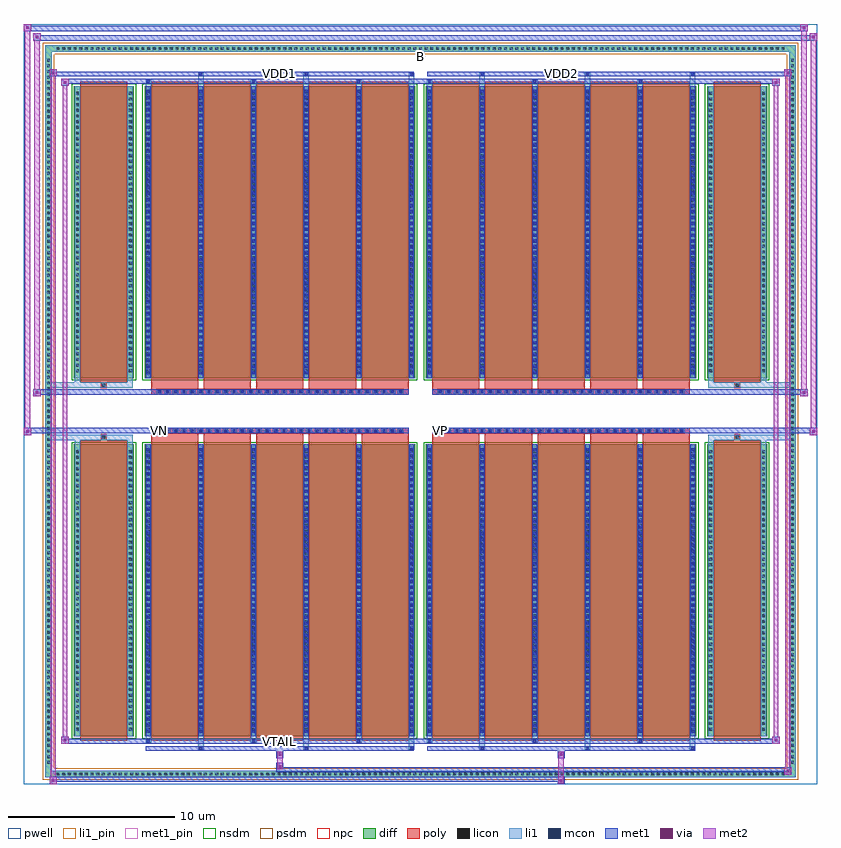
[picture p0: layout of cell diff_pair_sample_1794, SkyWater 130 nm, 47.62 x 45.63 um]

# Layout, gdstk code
import gdstk
lib = gdstk.Library(unit=1e-6, precision=5e-09)
def R(c, l, rs):  # rectangles x0, y0, x1, y1
    for r in rs: c.add(gdstk.rectangle(r[:2], r[2:], *l))
def A(c, l, x, y, w, h, nx, ny, dx, dy):  # array of equal rectangles
    R(c, l, [(x+i*dx, y+j*dy, x+i*dx+w, y+j*dy+h) for i in range(nx) for j in range(ny)])
def P(c, l, *ps):  # polygons
    for p in ps: c.add(gdstk.Polygon(p, *l))
pwell = (64, 44)
diff = (65, 20)
poly = (66, 20)
licon = (66, 44)
li1_pin = (67, 16)
li1 = (67, 20)
mcon = (67, 44)
met1_pin = (68, 16)
met1 = (68, 20)
via = (68, 44)
met2 = (69, 20)
nsdm = (93, 44)
psdm = (94, 20)
npc = (95, 20)

diff_pair_sample_1794 = lib.new_cell('diff_pair_sample_1794')
R(diff_pair_sample_1794, pwell, [(-23.81,-22.38,23.81,23.25), (-21.13,-20.57,-0.01,-0.805), (0.01,-20.57,21.13,-0.805), (-21.13,0.805,-0.01,20.57), (0.01,0.805,21.13,20.57)])
A(diff_pair_sample_1794, diff, -21.965, -21.98, 0.41, 0.41, 129, 2, 0.34, 43.55)
A(diff_pair_sample_1794, diff, -22.54, -21.285, 0.41, 0.41, 1, 125, 0, 0.34)
A(diff_pair_sample_1794, diff, 22.13, -21.285, 0.41, 0.41, 1, 125, 0, 0.34)
R(diff_pair_sample_1794, diff, [(-21.965,-21.98,21.965,-21.57), (-22.54,-21.285,-22.13,21.285), (22.13,-21.285,22.54,21.285), (-20.82,-19.525,-17.21,-1.985), (-16.57,-19.525,-0.32,-1.985), (0.32,-19.525,16.57,-1.985), (17.21,-19.525,20.82,-1.985), (-20.82,1.985,-17.21,19.525), (-16.57,1.985,-0.32,19.525), (0.32,1.985,16.57,19.525), (17.21,1.985,20.82,19.525), (-21.965,21.57,21.965,21.98)])
P(diff_pair_sample_1794, diff, [(22.54,21.98),(-22.54,21.98),(-22.54,-21.57),(-22.13,-21.57),(-22.13,21.57),(22.13,21.57),(22.13,-21.57),(-22.13,-21.57),(-22.54,-21.57),(-22.54,-21.98),(22.54,-21.98)])
A(diff_pair_sample_1794, poly, -16.18, -19.775, 2.83, 18.04, 5, 2, 3.16, 21.51)
A(diff_pair_sample_1794, poly, 0.71, -19.775, 2.83, 18.04, 5, 2, 3.16, 21.51)
A(diff_pair_sample_1794, poly, -16.18, -1.735, 2.83, 0.4, 5, 2, 3.16, 3.07)
A(diff_pair_sample_1794, poly, 0.71, -1.735, 2.83, 0.4, 5, 2, 3.16, 3.07)
A(diff_pair_sample_1794, poly, -15.86, -1.335, 0.33, 0.33, 30, 2, 0.5, 2.34)
A(diff_pair_sample_1794, poly, 1.03, -1.335, 0.33, 0.33, 30, 2, 0.5, 2.34)
R(diff_pair_sample_1794, poly, [(-20.43,-19.775,-17.6,-1.735), (17.6,-19.775,20.43,-1.735), (-19.18,-1.735,-18.85,-1.405), (-19.18,-1.735,-18.85,-1.405), (18.85,-1.735,19.18,-1.405), (18.85,-1.735,19.18,-1.405), (-16.18,-1.335,-0.71,-1.005), (0.71,-1.335,16.18,-1.005), (-16.18,1.005,-0.71,1.335), (0.71,1.005,16.18,1.335), (-19.18,1.405,-18.85,1.735), (-19.18,1.405,-18.85,1.735), (18.85,1.405,19.18,1.735), (18.85,1.405,19.18,1.735), (-20.43,1.735,-17.6,19.775), (17.6,1.735,20.43,19.775)])
A(diff_pair_sample_1794, licon, -21.845, -21.86, 0.17, 0.17, 129, 2, 0.34, 43.55)
A(diff_pair_sample_1794, licon, -22.42, -21.165, 0.17, 0.17, 1, 125, 0, 0.34)
A(diff_pair_sample_1794, licon, 22.25, -21.165, 0.17, 0.17, 1, 125, 0, 0.34)
A(diff_pair_sample_1794, licon, -20.68, -19.17, 0.17, 0.17, 1, 50, 0, 0.34)
A(diff_pair_sample_1794, licon, -17.52, -19.17, 0.17, 0.17, 1, 50, 0, 0.34)
A(diff_pair_sample_1794, licon, -16.43, -19.17, 0.17, 0.17, 6, 50, 3.16, 0.34)
A(diff_pair_sample_1794, licon, 0.46, -19.17, 0.17, 0.17, 6, 50, 3.16, 0.34)
A(diff_pair_sample_1794, licon, 17.35, -19.17, 0.17, 0.17, 1, 50, 0, 0.34)
A(diff_pair_sample_1794, licon, 20.51, -19.17, 0.17, 0.17, 1, 50, 0, 0.34)
A(diff_pair_sample_1794, licon, -15.78, -1.255, 0.17, 0.17, 30, 2, 0.5, 2.34)
A(diff_pair_sample_1794, licon, 1.11, -1.255, 0.17, 0.17, 30, 2, 0.5, 2.34)
A(diff_pair_sample_1794, licon, -20.68, 2.34, 0.17, 0.17, 1, 50, 0, 0.34)
A(diff_pair_sample_1794, licon, -17.52, 2.34, 0.17, 0.17, 1, 50, 0, 0.34)
A(diff_pair_sample_1794, licon, -16.43, 2.34, 0.17, 0.17, 6, 50, 3.16, 0.34)
A(diff_pair_sample_1794, licon, 0.46, 2.34, 0.17, 0.17, 6, 50, 3.16, 0.34)
A(diff_pair_sample_1794, licon, 17.35, 2.34, 0.17, 0.17, 1, 50, 0, 0.34)
A(diff_pair_sample_1794, licon, 20.51, 2.34, 0.17, 0.17, 1, 50, 0, 0.34)
R(diff_pair_sample_1794, licon, [(-19.1,-1.655,-18.93,-1.485), (18.93,-1.655,19.1,-1.485), (-19.1,1.485,-18.93,1.655), (18.93,1.485,19.1,1.655)])
R(diff_pair_sample_1794, li1_pin, [(-0.25,21.07,0.25,21.57)])
A(diff_pair_sample_1794, li1, -21.925, -21.94, 0.33, 0.33, 129, 2, 0.34, 43.55)
A(diff_pair_sample_1794, li1, -22.5, -21.245, 0.33, 0.33, 1, 125, 0, 0.34)
A(diff_pair_sample_1794, li1, 22.17, -21.245, 0.33, 0.33, 1, 125, 0, 0.34)
A(diff_pair_sample_1794, li1, -13.35, -20.33, 0.33, 0.805, 3, 2, 6.32, 39.855)
A(diff_pair_sample_1794, li1, -13.27, -20.33, 0.17, 0.17, 3, 2, 6.32, 40.49)
A(diff_pair_sample_1794, li1, 3.54, -20.33, 0.33, 0.805, 3, 2, 6.32, 39.855)
A(diff_pair_sample_1794, li1, 3.62, -20.33, 0.17, 0.17, 3, 2, 6.32, 40.49)
A(diff_pair_sample_1794, li1, -16.51, -19.9, 0.33, 0.375, 3, 2, 6.32, 39.425)
A(diff_pair_sample_1794, li1, -16.43, -19.9, 0.17, 0.17, 3, 2, 6.32, 39.63)
A(diff_pair_sample_1794, li1, 0.38, -19.9, 0.33, 0.375, 3, 2, 6.32, 39.425)
A(diff_pair_sample_1794, li1, 0.46, -19.9, 0.17, 0.17, 3, 2, 6.32, 39.63)
A(diff_pair_sample_1794, li1, -16.51, -19.525, 0.33, 17.54, 6, 2, 3.16, 21.51)
A(diff_pair_sample_1794, li1, 0.38, -19.525, 0.33, 17.54, 6, 2, 3.16, 21.51)
A(diff_pair_sample_1794, li1, -16.43, -19.3, 0.17, 0.17, 6, 48, 3.16, 0.36)
A(diff_pair_sample_1794, li1, -16.43, -19.3, 0.17, 17.09, 6, 2, 3.16, 21.51)
A(diff_pair_sample_1794, li1, 0.46, -19.3, 0.17, 0.17, 6, 48, 3.16, 0.36)
A(diff_pair_sample_1794, li1, 0.46, -19.3, 0.17, 17.09, 6, 2, 3.16, 21.51)
A(diff_pair_sample_1794, li1, -20.76, -19.25, 0.33, 0.33, 1, 50, 0, 0.34)
A(diff_pair_sample_1794, li1, -17.6, -19.25, 0.33, 0.33, 1, 50, 0, 0.34)
A(diff_pair_sample_1794, li1, -16.51, -19.25, 0.33, 0.33, 6, 50, 3.16, 0.34)
A(diff_pair_sample_1794, li1, 0.38, -19.25, 0.33, 0.33, 6, 50, 3.16, 0.34)
A(diff_pair_sample_1794, li1, 17.27, -19.25, 0.33, 0.33, 1, 50, 0, 0.34)
A(diff_pair_sample_1794, li1, 20.43, -19.25, 0.33, 0.33, 1, 50, 0, 0.34)
A(diff_pair_sample_1794, li1, -15.86, -1.335, 0.33, 0.33, 30, 2, 0.5, 2.34)
A(diff_pair_sample_1794, li1, 1.03, -1.335, 0.33, 0.33, 30, 2, 0.5, 2.34)
A(diff_pair_sample_1794, li1, -16.43, 2.21, 0.17, 0.17, 6, 48, 3.16, 0.36)
A(diff_pair_sample_1794, li1, 0.46, 2.21, 0.17, 0.17, 6, 48, 3.16, 0.36)
A(diff_pair_sample_1794, li1, -20.76, 2.26, 0.33, 0.33, 1, 50, 0, 0.34)
A(diff_pair_sample_1794, li1, -17.6, 2.26, 0.33, 0.33, 1, 50, 0, 0.34)
A(diff_pair_sample_1794, li1, -16.51, 2.26, 0.33, 0.33, 6, 50, 3.16, 0.34)
A(diff_pair_sample_1794, li1, 0.38, 2.26, 0.33, 0.33, 6, 50, 3.16, 0.34)
A(diff_pair_sample_1794, li1, 17.27, 2.26, 0.33, 0.33, 1, 50, 0, 0.34)
A(diff_pair_sample_1794, li1, 20.43, 2.26, 0.33, 0.33, 1, 50, 0, 0.34)
R(diff_pair_sample_1794, li1, [(-22.54,-21.98,-22.13,-21.57), (-22.54,-21.98,-22.13,-21.57), (-22.13,-21.98,22.13,-21.57), (22.13,-21.98,22.54,-21.57), (22.13,-21.98,22.54,-21.57), (-22.54,-21.57,-22.13,21.57), (22.13,-21.57,22.54,21.57), (-20.76,-19.525,-20.43,-1.985), (-17.6,-19.525,-17.27,-1.985), (17.27,-19.525,17.6,-1.985), (20.43,-19.525,20.76,-1.985), (-20.76,-1.985,-20.43,-1.405), (-17.6,-1.985,-17.27,-1.405), (17.27,-1.985,17.6,-1.405), (20.43,-1.985,20.76,-1.405), (-22.54,-1.735,-19.18,-1.405), (-20.76,-1.735,-19.18,-1.405), (-19.18,-1.735,-18.85,-1.405), (-18.85,-1.735,-17.27,-1.405), (17.27,-1.735,18.85,-1.405), (18.85,-1.735,19.18,-1.405), (18.85,-1.735,22.54,-1.405), (19.18,-1.735,20.76,-1.405), (-22.54,1.405,-19.18,1.735), (-20.76,1.405,-19.18,1.735), (-20.76,1.405,-20.43,1.985), (-19.18,1.405,-18.85,1.735), (-18.85,1.405,-17.27,1.735), (-17.6,1.405,-17.27,1.985), (17.27,1.405,18.85,1.735), (17.27,1.405,17.6,1.985), (18.85,1.405,19.18,1.735), (18.85,1.405,22.54,1.735), (19.18,1.405,20.76,1.735), (20.43,1.405,20.76,1.985), (-20.76,1.985,-20.43,19.525), (-17.6,1.985,-17.27,19.525), (17.27,1.985,17.6,19.525), (20.43,1.985,20.76,19.525), (-22.54,21.57,-22.13,21.98), (-22.54,21.57,-22.13,21.98), (-22.13,21.57,22.13,21.98), (22.13,21.57,22.54,21.98), (22.13,21.57,22.54,21.98)])
A(diff_pair_sample_1794, mcon, -13.27, -20.33, 0.17, 0.17, 3, 2, 6.32, 40.49)
A(diff_pair_sample_1794, mcon, 3.62, -20.33, 0.17, 0.17, 3, 2, 6.32, 40.49)
A(diff_pair_sample_1794, mcon, -16.43, -19.9, 0.17, 0.17, 3, 2, 6.32, 39.63)
A(diff_pair_sample_1794, mcon, 0.46, -19.9, 0.17, 0.17, 3, 2, 6.32, 39.63)
A(diff_pair_sample_1794, mcon, -16.43, -19.3, 0.17, 0.17, 6, 48, 3.16, 0.36)
A(diff_pair_sample_1794, mcon, 0.46, -19.3, 0.17, 0.17, 6, 48, 3.16, 0.36)
A(diff_pair_sample_1794, mcon, -15.78, -1.255, 0.17, 0.17, 30, 2, 0.5, 2.34)
A(diff_pair_sample_1794, mcon, 1.11, -1.255, 0.17, 0.17, 30, 2, 0.5, 2.34)
A(diff_pair_sample_1794, mcon, -16.43, 2.21, 0.17, 0.17, 6, 48, 3.16, 0.36)
A(diff_pair_sample_1794, mcon, 0.46, 2.21, 0.17, 0.17, 6, 48, 3.16, 0.36)
R(diff_pair_sample_1794, met1_pin, [(-8.58,-19.94,-8.31,-19.67), (-15.83,-1.295,-15.56,-1.025), (1.06,-1.295,1.33,-1.025), (-8.58,20.12,-8.31,20.39), (8.31,20.12,8.58,20.39)])
A(diff_pair_sample_1794, met1, -13.33, -20.39, 0.29, 0.29, 3, 2, 6.32, 40.49)
A(diff_pair_sample_1794, met1, 3.56, -20.39, 0.29, 0.29, 3, 2, 6.32, 40.49)
A(diff_pair_sample_1794, met1, -16.49, -19.96, 0.29, 0.29, 3, 2, 6.32, 39.63)
A(diff_pair_sample_1794, met1, 0.4, -19.96, 0.29, 0.29, 3, 2, 6.32, 39.63)
A(diff_pair_sample_1794, met1, -16.49, -19.525, 0.29, 17.54, 6, 2, 3.16, 21.51)
A(diff_pair_sample_1794, met1, 0.4, -19.525, 0.29, 17.54, 6, 2, 3.16, 21.51)
A(diff_pair_sample_1794, met1, -16.49, -19.36, 0.29, 0.29, 6, 48, 3.16, 0.36)
A(diff_pair_sample_1794, met1, 0.4, -19.36, 0.29, 0.29, 6, 48, 3.16, 0.36)
A(diff_pair_sample_1794, met1, -15.84, -1.315, 0.29, 0.29, 30, 2, 0.5, 2.34)
A(diff_pair_sample_1794, met1, 1.05, -1.315, 0.29, 0.29, 30, 2, 0.5, 2.34)
A(diff_pair_sample_1794, met1, -16.49, 2.15, 0.29, 0.29, 6, 48, 3.16, 0.36)
A(diff_pair_sample_1794, met1, 0.4, 2.15, 0.29, 0.29, 6, 48, 3.16, 0.36)
R(diff_pair_sample_1794, met1, [(-22.27,-22.38,-21.84,-21.95), (8.23,-22.38,8.66,-21.95), (-22.27,-22.24,8.66,-21.95), (21.84,-21.81,22.27,-21.38), (-8.66,-21.67,22.27,-21.38), (-8.66,-21.53,-8.23,-21.1), (-8.66,-20.82,-8.23,-20.39), (8.23,-20.82,8.66,-20.39), (-16.49,-20.39,-0.4,-20.1), (0.4,-20.39,16.49,-20.1), (-21.56,-19.96,-21.13,-19.53), (-21.56,-19.96,-16.49,-19.67), (-16.49,-19.96,-0.4,-19.67), (-0.4,-19.96,0.4,-19.67), (0.4,-19.96,16.49,-19.67), (16.49,-19.96,21.56,-19.67), (21.13,-19.96,21.56,-19.53), (-23.81,-1.435,-23.38,-1.005), (23.38,-1.435,23.81,-1.005), (-23.81,-1.335,-0.71,-1.005), (-16.18,-1.335,-0.71,-1.005), (0.71,-1.335,16.18,-1.005), (0.71,-1.335,23.81,-1.005), (-23.24,0.905,-22.81,1.335), (22.81,0.905,23.24,1.335), (-23.24,1.005,-16.18,1.335), (-16.18,1.005,-0.71,1.335), (0.71,1.005,16.18,1.335), (16.18,1.005,23.24,1.335), (-21.56,19.53,-21.13,19.96), (21.13,19.53,21.56,19.96), (-21.56,19.67,-16.49,19.96), (-16.49,19.67,-0.4,19.96), (-0.4,19.67,0.4,19.96), (0.4,19.67,16.49,19.96), (16.49,19.67,21.56,19.96), (-22.27,20.1,-21.84,20.53), (-22.27,20.1,-16.49,20.39), (-16.49,20.1,-0.4,20.39), (0.4,20.1,16.49,20.39), (16.49,20.1,22.27,20.39), (21.84,20.1,22.27,20.53), (-23.24,22.25,-22.81,22.68), (-23.24,22.25,-21.13,22.58), (-21.13,22.25,21.13,22.58), (21.13,22.25,23.81,22.58), (23.38,22.25,23.81,22.68), (-23.81,22.82,-23.38,23.25), (-23.81,22.82,-21.13,23.15), (-21.13,22.82,21.13,23.15), (21.13,22.82,23.24,23.15), (22.81,22.82,23.24,23.25)])
R(diff_pair_sample_1794, via, [(-22.13,-22.24,-21.98,-22.09), (8.37,-22.24,8.52,-22.09), (21.98,-21.67,22.13,-21.52), (-8.52,-21.39,-8.37,-21.24), (-8.52,-20.68,-8.37,-20.53), (8.37,-20.68,8.52,-20.53), (-21.42,-19.82,-21.27,-19.67), (21.27,-19.82,21.42,-19.67), (-23.67,-1.295,-23.52,-1.145), (23.52,-1.295,23.67,-1.145), (-23.1,1.045,-22.95,1.195), (22.95,1.045,23.1,1.195), (-21.42,19.67,-21.27,19.82), (21.27,19.67,21.42,19.82), (-22.13,20.24,-21.98,20.39), (21.98,20.24,22.13,20.39), (-23.1,22.39,-22.95,22.54), (23.52,22.39,23.67,22.54), (-23.67,22.96,-23.52,23.11), (22.95,22.96,23.1,23.11)])
R(diff_pair_sample_1794, met2, [(-22.27,-22.38,-21.84,-21.95), (-22.2,-22.38,-21.91,20.53), (-21.91,-22.38,-21.84,-21.95), (-22.22,-22.33,-21.89,-22), (8.28,-22.33,8.61,-22), (8.28,-22,8.61,-20.77), (21.84,-21.81,22.27,-21.38), (21.91,-21.81,22.2,20.53), (22.2,-21.81,22.27,-21.38), (21.89,-21.76,22.22,-21.43), (-8.61,-21.48,-8.28,-21.15), (-8.61,-21.15,-8.28,-20.77), (-8.61,-20.77,-8.28,-20.44), (8.28,-20.77,8.61,-20.44), (-21.56,-19.96,-21.13,-19.53), (-21.49,-19.96,-21.2,19.96), (-21.2,-19.96,-21.13,-19.53), (21.13,-19.96,21.56,-19.53), (21.2,-19.96,21.49,19.96), (21.49,-19.96,21.56,-19.53), (-21.51,-19.91,-21.18,-19.58), (21.18,-19.91,21.51,-19.58), (-23.81,-1.435,-23.38,-1.005), (-23.76,-1.435,-23.43,23.25), (-23.43,-1.435,-23.38,-1.005), (23.38,-1.435,23.81,-1.005), (23.43,-1.435,23.76,22.68), (23.76,-1.435,23.81,-1.005), (-23.76,-1.385,-23.43,-1.055), (23.43,-1.385,23.76,-1.055), (-23.24,0.905,-22.81,1.335), (-23.19,0.905,-22.86,22.68), (-22.86,0.905,-22.81,1.335), (22.81,0.905,23.24,1.335), (22.86,0.905,23.19,23.25), (23.19,0.905,23.24,1.335), (-23.19,0.955,-22.86,1.285), (22.86,0.955,23.19,1.285), (-21.56,19.53,-21.13,19.96), (-21.2,19.53,-21.13,19.96), (21.13,19.53,21.56,19.96), (21.49,19.53,21.56,19.96), (-21.51,19.58,-21.18,19.91), (21.18,19.58,21.51,19.91), (-22.27,20.1,-21.84,20.53), (-21.91,20.1,-21.84,20.53), (21.84,20.1,22.27,20.53), (22.2,20.1,22.27,20.53), (-22.22,20.15,-21.89,20.48), (21.89,20.15,22.22,20.48), (-23.24,22.25,-22.81,22.68), (-22.86,22.25,-22.81,22.68), (23.38,22.25,23.81,22.68), (23.76,22.25,23.81,22.68), (-23.19,22.3,-22.86,22.63), (23.43,22.3,23.76,22.63), (-23.81,22.82,-23.38,23.25), (-23.43,22.82,-23.38,23.25), (22.81,22.82,23.24,23.25), (23.19,22.82,23.24,23.25), (-23.76,22.87,-23.43,23.2), (22.86,22.87,23.19,23.2)])
R(diff_pair_sample_1794, nsdm, [(-20.95,-19.655,-17.08,-1.855), (-16.7,-19.655,-0.19,-1.855), (0.19,-19.655,16.7,-1.855), (17.08,-19.655,20.95,-1.855), (-20.95,1.855,-17.08,19.655), (-16.7,1.855,-0.19,19.655), (0.19,1.855,16.7,19.655), (17.08,1.855,20.95,19.655)])
P(diff_pair_sample_1794, psdm, [(22.67,22.11),(-22.67,22.11),(-22.67,-21.44),(-22,-21.44),(-22,21.44),(22,21.44),(22,-21.44),(-22,-21.44),(-22.67,-21.44),(-22.67,-22.11),(22.67,-22.11)])
A(diff_pair_sample_1794, npc, -15.88, -1.355, 0.37, 0.37, 30, 2, 0.5, 2.34)
A(diff_pair_sample_1794, npc, 1.01, -1.355, 0.37, 0.37, 30, 2, 0.5, 2.34)
R(diff_pair_sample_1794, npc, [(-19.2,-1.755,-18.83,-1.385), (18.83,-1.755,19.2,-1.385), (-15.88,-1.355,-15.01,-0.985), (-15.88,-1.355,-15.01,-0.985), (-15.38,-1.355,-14.51,-0.985), (-15.38,-1.355,-14.51,-0.985), (-14.88,-1.355,-14.01,-0.985), (-14.88,-1.355,-14.01,-0.985), (-14.38,-1.355,-13.51,-0.985), (-14.38,-1.355,-13.51,-0.985), (-13.88,-1.355,-13.01,-0.985), (-13.88,-1.355,-13.01,-0.985), (-13.38,-1.355,-12.51,-0.985), (-13.38,-1.355,-12.51,-0.985), (-12.88,-1.355,-12.01,-0.985), (-12.88,-1.355,-12.01,-0.985), (-12.38,-1.355,-11.51,-0.985), (-12.38,-1.355,-11.51,-0.985), (-11.88,-1.355,-11.01,-0.985), (-11.88,-1.355,-11.01,-0.985), (-11.38,-1.355,-10.51,-0.985), (-11.38,-1.355,-10.51,-0.985), (-10.88,-1.355,-10.01,-0.985), (-10.88,-1.355,-10.01,-0.985), (-10.38,-1.355,-9.51,-0.985), (-10.38,-1.355,-9.51,-0.985), (-9.88,-1.355,-9.01,-0.985), (-9.88,-1.355,-9.01,-0.985), (-9.38,-1.355,-8.51,-0.985), (-9.38,-1.355,-8.51,-0.985), (-8.88,-1.355,-8.01,-0.985), (-8.88,-1.355,-8.01,-0.985), (-8.38,-1.355,-7.51,-0.985), (-8.38,-1.355,-7.51,-0.985), (-7.88,-1.355,-7.01,-0.985), (-7.88,-1.355,-7.01,-0.985), (-7.38,-1.355,-6.51,-0.985), (-7.38,-1.355,-6.51,-0.985), (-6.88,-1.355,-6.01,-0.985), (-6.88,-1.355,-6.01,-0.985), (-6.38,-1.355,-5.51,-0.985), (-6.38,-1.355,-5.51,-0.985), (-5.88,-1.355,-5.01,-0.985), (-5.88,-1.355,-5.01,-0.985), (-5.38,-1.355,-4.51,-0.985), (-5.38,-1.355,-4.51,-0.985), (-4.88,-1.355,-4.01,-0.985), (-4.88,-1.355,-4.01,-0.985), (-4.38,-1.355,-3.51,-0.985), (-4.38,-1.355,-3.51,-0.985), (-3.88,-1.355,-3.01,-0.985), (-3.88,-1.355,-3.01,-0.985), (-3.38,-1.355,-2.51,-0.985), (-3.38,-1.355,-2.51,-0.985), (-2.88,-1.355,-2.01,-0.985), (-2.88,-1.355,-2.01,-0.985), (-2.38,-1.355,-1.51,-0.985), (-2.38,-1.355,-1.51,-0.985), (-1.88,-1.355,-1.01,-0.985), (-1.88,-1.355,-1.01,-0.985), (1.01,-1.355,1.88,-0.985), (1.01,-1.355,1.88,-0.985), (1.51,-1.355,2.38,-0.985), (1.51,-1.355,2.38,-0.985), (2.01,-1.355,2.88,-0.985), (2.01,-1.355,2.88,-0.985), (2.51,-1.355,3.38,-0.985), (2.51,-1.355,3.38,-0.985), (3.01,-1.355,3.88,-0.985), (3.01,-1.355,3.88,-0.985), (3.51,-1.355,4.38,-0.985), (3.51,-1.355,4.38,-0.985), (4.01,-1.355,4.88,-0.985), (4.01,-1.355,4.88,-0.985), (4.51,-1.355,5.38,-0.985), (4.51,-1.355,5.38,-0.985), (5.01,-1.355,5.88,-0.985), (5.01,-1.355,5.88,-0.985), (5.51,-1.355,6.38,-0.985), (5.51,-1.355,6.38,-0.985), (6.01,-1.355,6.88,-0.985), (6.01,-1.355,6.88,-0.985), (6.51,-1.355,7.38,-0.985), (6.51,-1.355,7.38,-0.985), (7.01,-1.355,7.88,-0.985), (7.01,-1.355,7.88,-0.985), (7.51,-1.355,8.38,-0.985), (7.51,-1.355,8.38,-0.985), (8.01,-1.355,8.88,-0.985), (8.01,-1.355,8.88,-0.985), (8.51,-1.355,9.38,-0.985), (8.51,-1.355,9.38,-0.985), (9.01,-1.355,9.88,-0.985), (9.01,-1.355,9.88,-0.985), (9.51,-1.355,10.38,-0.985), (9.51,-1.355,10.38,-0.985), (10.01,-1.355,10.88,-0.985), (10.01,-1.355,10.88,-0.985), (10.51,-1.355,11.38,-0.985), (10.51,-1.355,11.38,-0.985), (11.01,-1.355,11.88,-0.985), (11.01,-1.355,11.88,-0.985), (11.51,-1.355,12.38,-0.985), (11.51,-1.355,12.38,-0.985), (12.01,-1.355,12.88,-0.985), (12.01,-1.355,12.88,-0.985), (12.51,-1.355,13.38,-0.985), (12.51,-1.355,13.38,-0.985), (13.01,-1.355,13.88,-0.985), (13.01,-1.355,13.88,-0.985), (13.51,-1.355,14.38,-0.985), (13.51,-1.355,14.38,-0.985), (14.01,-1.355,14.88,-0.985), (14.01,-1.355,14.88,-0.985), (14.51,-1.355,15.38,-0.985), (14.51,-1.355,15.38,-0.985), (15.01,-1.355,15.88,-0.985), (15.01,-1.355,15.88,-0.985), (-15.88,0.985,-15.01,1.355), (-15.88,0.985,-15.01,1.355), (-15.38,0.985,-14.51,1.355), (-15.38,0.985,-14.51,1.355), (-14.88,0.985,-14.01,1.355), (-14.88,0.985,-14.01,1.355), (-14.38,0.985,-13.51,1.355), (-14.38,0.985,-13.51,1.355), (-13.88,0.985,-13.01,1.355), (-13.88,0.985,-13.01,1.355), (-13.38,0.985,-12.51,1.355), (-13.38,0.985,-12.51,1.355), (-12.88,0.985,-12.01,1.355), (-12.88,0.985,-12.01,1.355), (-12.38,0.985,-11.51,1.355), (-12.38,0.985,-11.51,1.355), (-11.88,0.985,-11.01,1.355), (-11.88,0.985,-11.01,1.355), (-11.38,0.985,-10.51,1.355), (-11.38,0.985,-10.51,1.355), (-10.88,0.985,-10.01,1.355), (-10.88,0.985,-10.01,1.355), (-10.38,0.985,-9.51,1.355), (-10.38,0.985,-9.51,1.355), (-9.88,0.985,-9.01,1.355), (-9.88,0.985,-9.01,1.355), (-9.38,0.985,-8.51,1.355), (-9.38,0.985,-8.51,1.355), (-8.88,0.985,-8.01,1.355), (-8.88,0.985,-8.01,1.355), (-8.38,0.985,-7.51,1.355), (-8.38,0.985,-7.51,1.355), (-7.88,0.985,-7.01,1.355), (-7.88,0.985,-7.01,1.355), (-7.38,0.985,-6.51,1.355), (-7.38,0.985,-6.51,1.355), (-6.88,0.985,-6.01,1.355), (-6.88,0.985,-6.01,1.355), (-6.38,0.985,-5.51,1.355), (-6.38,0.985,-5.51,1.355), (-5.88,0.985,-5.01,1.355), (-5.88,0.985,-5.01,1.355), (-5.38,0.985,-4.51,1.355), (-5.38,0.985,-4.51,1.355), (-4.88,0.985,-4.01,1.355), (-4.88,0.985,-4.01,1.355), (-4.38,0.985,-3.51,1.355), (-4.38,0.985,-3.51,1.355), (-3.88,0.985,-3.01,1.355), (-3.88,0.985,-3.01,1.355), (-3.38,0.985,-2.51,1.355), (-3.38,0.985,-2.51,1.355), (-2.88,0.985,-2.01,1.355), (-2.88,0.985,-2.01,1.355), (-2.38,0.985,-1.51,1.355), (-2.38,0.985,-1.51,1.355), (-1.88,0.985,-1.01,1.355), (-1.88,0.985,-1.01,1.355), (1.01,0.985,1.88,1.355), (1.01,0.985,1.88,1.355), (1.51,0.985,2.38,1.355), (1.51,0.985,2.38,1.355), (2.01,0.985,2.88,1.355), (2.01,0.985,2.88,1.355), (2.51,0.985,3.38,1.355), (2.51,0.985,3.38,1.355), (3.01,0.985,3.88,1.355), (3.01,0.985,3.88,1.355), (3.51,0.985,4.38,1.355), (3.51,0.985,4.38,1.355), (4.01,0.985,4.88,1.355), (4.01,0.985,4.88,1.355), (4.51,0.985,5.38,1.355), (4.51,0.985,5.38,1.355), (5.01,0.985,5.88,1.355), (5.01,0.985,5.88,1.355), (5.51,0.985,6.38,1.355), (5.51,0.985,6.38,1.355), (6.01,0.985,6.88,1.355), (6.01,0.985,6.88,1.355), (6.51,0.985,7.38,1.355), (6.51,0.985,7.38,1.355), (7.01,0.985,7.88,1.355), (7.01,0.985,7.88,1.355), (7.51,0.985,8.38,1.355), (7.51,0.985,8.38,1.355), (8.01,0.985,8.88,1.355), (8.01,0.985,8.88,1.355), (8.51,0.985,9.38,1.355), (8.51,0.985,9.38,1.355), (9.01,0.985,9.88,1.355), (9.01,0.985,9.88,1.355), (9.51,0.985,10.38,1.355), (9.51,0.985,10.38,1.355), (10.01,0.985,10.88,1.355), (10.01,0.985,10.88,1.355), (10.51,0.985,11.38,1.355), (10.51,0.985,11.38,1.355), (11.01,0.985,11.88,1.355), (11.01,0.985,11.88,1.355), (11.51,0.985,12.38,1.355), (11.51,0.985,12.38,1.355), (12.01,0.985,12.88,1.355), (12.01,0.985,12.88,1.355), (12.51,0.985,13.38,1.355), (12.51,0.985,13.38,1.355), (13.01,0.985,13.88,1.355), (13.01,0.985,13.88,1.355), (13.51,0.985,14.38,1.355), (13.51,0.985,14.38,1.355), (14.01,0.985,14.88,1.355), (14.01,0.985,14.88,1.355), (14.51,0.985,15.38,1.355), (14.51,0.985,15.38,1.355), (15.01,0.985,15.88,1.355), (15.01,0.985,15.88,1.355), (-19.2,1.385,-18.83,1.755), (18.83,1.385,19.2,1.755)])
diff_pair_sample_1794.add(gdstk.Label('VTAIL', (-8.445,-19.805), layer=68, texttype=5))
diff_pair_sample_1794.add(gdstk.Label('VN', (-15.695,-1.16), layer=68, texttype=5))
diff_pair_sample_1794.add(gdstk.Label('VP', (1.195,-1.16), layer=68, texttype=5))
diff_pair_sample_1794.add(gdstk.Label('B', (0,21.32), layer=67, texttype=5))
diff_pair_sample_1794.add(gdstk.Label('VDD2', (8.445,20.255), layer=68, texttype=5))
diff_pair_sample_1794.add(gdstk.Label('VDD1', (-8.445,20.255), layer=68, texttype=5))

lib.write_gds('diff_pair_sample_1794.gds')
